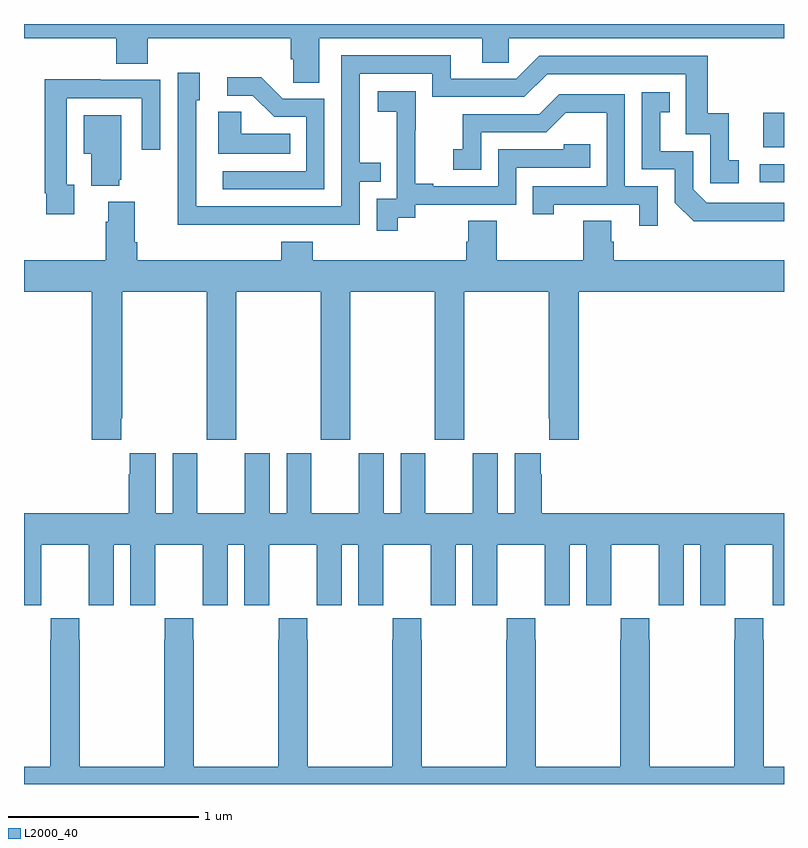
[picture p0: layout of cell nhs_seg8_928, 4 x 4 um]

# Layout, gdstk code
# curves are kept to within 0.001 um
import gdstk
lib = gdstk.Library(unit=1e-6, precision=1e-09)
def R(c, l, rs):  # rectangles x0, y0, x1, y1
    for r in rs: c.add(gdstk.rectangle(r[:2], r[2:], *l))
def P(c, l, *ps):  # polygons
    for p in ps: c.add(gdstk.Polygon(p, *l))
L2000_40 = (2000, 40)

nhs_seg8_928 = lib.new_cell('nhs_seg8_928')
R(nhs_seg8_928, L2000_40, [(174.873,1125.066,175,1125.162), (174.89,1125.251,175,1125.433)])
P(nhs_seg8_928, L2000_40, [(172.555,1125.824),(173.411,1125.824),(173.411,1125.697),(173.55,1125.697),(173.55,1125.824),(175,1125.824),(175,1125.9),(171,1125.9),(171,1125.824),(171.485,1125.824),(171.485,1125.691),(171.65,1125.691),(171.65,1125.824),(172.403,1125.824),(172.403,1125.715),(172.416,1125.715),(172.416,1125.592),(172.555,1125.592)],
  [(172.271,1124.844),(172.767,1124.844),(172.767,1125.069),(172.877,1125.069),(172.877,1125.17),(172.767,1125.17),(172.767,1125.639),(173.148,1125.639),(173.148,1125.516),(173.634,1125.516),(173.754,1125.636),(174.483,1125.636),(174.483,1125.321),(174.612,1125.321),(174.612,1125.063),(174.763,1125.063),(174.763,1125.183),(174.71,1125.183),(174.71,1125.43),(174.599,1125.43),(174.599,1125.732),(173.712,1125.732),(173.592,1125.612),(173.245,1125.612),(173.245,1125.735),(172.671,1125.735),(172.671,1124.94),(171.906,1124.94),(171.906,1125.498),(171.925,1125.498),(171.925,1125.643),(171.81,1125.643),(171.81,1125.149),(171.808,1125.149),(171.808,1124.843)],
  [(172.581,1125.507),(172.362,1125.507),(172.249,1125.62),(172.071,1125.62),(172.071,1125.522),(172.205,1125.522),(172.316,1125.411),(172.485,1125.411),(172.485,1125.126),(172.047,1125.126),(172.047,1125.03),(172.581,1125.03)],
  [(171.265,1125.054),(171.225,1125.054),(171.225,1125.51),(171.621,1125.51),(171.621,1125.237),(171.717,1125.237),(171.717,1125.606),(171.401,1125.606),(171.401,1125.608),(171.109,1125.608),(171.109,1125.01),(171.117,1125.01),(171.117,1124.898),(171.265,1124.898)],
  [(172.966,1124.881),(173.058,1124.881),(173.058,1124.949),(173.592,1124.949),(173.592,1125.144),(173.981,1125.144),(173.981,1125.267),(173.841,1125.267),(173.841,1125.24),(173.496,1125.24),(173.496,1125.045),(173.155,1125.045),(173.155,1125.058),(173.06,1125.058),(173.06,1125.341),(173.061,1125.341),(173.061,1125.547),(172.863,1125.547),(172.863,1125.437),(172.961,1125.437),(172.961,1125.209),(172.962,1125.209),(172.962,1124.979),(172.857,1124.979),(172.857,1124.811),(172.966,1124.811)],
  [(174.932,1124.862),(175,1124.862),(175,1124.958),(174.594,1124.958),(174.522,1125.03),(174.522,1125.231),(174.349,1125.231),(174.349,1125.435),(174.398,1125.435),(174.398,1125.541),(174.252,1125.541),(174.252,1125.135),(174.426,1125.135),(174.426,1124.958),(174.524,1124.861)],
  [(174.336,1125.045),(174.162,1125.045),(174.162,1125.531),(173.816,1125.531),(173.711,1125.426),(173.308,1125.426),(173.308,1125.241),(173.259,1125.241),(173.259,1125.132),(173.406,1125.132),(173.406,1125.33),(173.748,1125.33),(173.852,1125.434),(174.066,1125.434),(174.066,1125.045),(173.677,1125.045),(173.677,1124.898),(173.788,1124.898),(173.788,1124.949),(174.239,1124.949),(174.239,1124.838),(174.336,1124.838)],
  [(172.4,1125.322),(172.143,1125.322),(172.143,1125.437),(172.022,1125.437),(172.022,1125.218),(172.4,1125.218)],
  [(171.5,1125.081),(171.511,1125.081),(171.511,1125.421),(171.314,1125.421),(171.314,1125.218),(171.353,1125.218),(171.353,1125.05),(171.5,1125.05)],
  [(171.511,1123.825),(171.516,1123.825),(171.516,1124.492),(171.961,1124.492),(171.961,1123.713),(172.116,1123.713),(172.116,1124.492),(172.561,1124.492),(172.561,1123.713),(172.716,1123.713),(172.716,1124.492),(173.161,1124.492),(173.161,1123.713),(173.316,1123.713),(173.316,1124.492),(173.761,1124.492),(173.761,1123.825),(173.765,1123.825),(173.765,1123.713),(173.921,1123.713),(173.921,1124.492),(175,1124.492),(175,1124.656),(174.104,1124.656),(174.104,1124.754),(174.091,1124.754),(174.091,1124.864),(173.944,1124.864),(173.944,1124.656),(173.487,1124.656),(173.487,1124.864),(173.339,1124.864),(173.339,1124.754),(173.327,1124.754),(173.327,1124.656),(172.52,1124.656),(172.52,1124.755),(172.355,1124.755),(172.355,1124.656),(171.596,1124.656),(171.596,1124.752),(171.583,1124.752),(171.583,1124.965),(171.443,1124.965),(171.443,1124.858),(171.431,1124.858),(171.431,1124.656),(171,1124.656),(171,1124.492),(171.356,1124.492),(171.356,1123.713),(171.511,1123.713)],
  [(172.513,1123.642),(172.382,1123.642),(172.382,1123.324),(172.294,1123.324),(172.294,1123.642),(172.163,1123.642),(172.163,1123.324),(171.913,1123.324),(171.913,1123.642),(171.782,1123.642),(171.782,1123.324),(171.694,1123.324),(171.694,1123.642),(171.557,1123.642),(171.557,1123.529),(171.551,1123.529),(171.551,1123.324),(171,1123.324),(171,1122.84),(171.09,1122.84),(171.09,1122.952),(171.091,1122.952),(171.091,1123.16),(171.341,1123.16),(171.341,1122.952),(171.342,1122.952),(171.342,1122.84),(171.472,1122.84),(171.472,1123.16),(171.56,1123.16),(171.56,1122.84),(171.69,1122.84),(171.69,1122.952),(171.691,1122.952),(171.691,1123.16),(171.941,1123.16),(171.941,1122.952),(171.942,1122.952),(171.942,1122.84),(172.072,1122.84),(172.072,1123.16),(172.16,1123.16),(172.16,1122.84),(172.29,1122.84),(172.29,1122.952),(172.291,1122.952),(172.291,1123.16),(172.541,1123.16),(172.541,1122.952),(172.542,1122.952),(172.542,1122.84),(172.672,1122.84),(172.672,1123.16),(172.76,1123.16),(172.76,1122.84),(172.89,1122.84),(172.89,1122.952),(172.891,1122.952),(172.891,1123.16),(173.141,1123.16),(173.141,1122.952),(173.142,1122.952),(173.142,1122.84),(173.272,1122.84),(173.272,1123.16),(173.36,1123.16),(173.36,1122.84),(173.49,1122.84),(173.49,1122.952),(173.491,1122.952),(173.491,1123.16),(173.741,1123.16),(173.741,1122.952),(173.742,1122.952),(173.742,1122.84),(173.872,1122.84),(173.872,1123.16),(173.96,1123.16),(173.96,1122.84),(174.09,1122.84),(174.09,1122.952),(174.091,1122.952),(174.091,1123.16),(174.341,1123.16),(174.341,1122.952),(174.342,1122.952),(174.342,1122.84),(174.472,1122.84),(174.472,1123.16),(174.56,1123.16),(174.56,1122.84),(174.69,1122.84),(174.69,1122.952),(174.691,1122.952),(174.691,1123.16),(174.941,1123.16),(174.941,1122.952),(174.942,1122.952),(174.942,1122.84),(175,1122.84),(175,1123.324),(173.726,1123.324),(173.726,1123.529),(173.719,1123.529),(173.719,1123.642),(173.582,1123.642),(173.582,1123.324),(173.494,1123.324),(173.494,1123.642),(173.363,1123.642),(173.363,1123.324),(173.113,1123.324),(173.113,1123.642),(172.982,1123.642),(172.982,1123.324),(172.894,1123.324),(172.894,1123.642),(172.763,1123.642),(172.763,1123.324),(172.513,1123.324)],
  [(175,1121.992),(174.894,1121.992),(174.894,1122.659),(174.891,1122.659),(174.891,1122.772),(174.741,1122.772),(174.741,1122.659),(174.739,1122.659),(174.739,1121.992),(174.294,1121.992),(174.294,1122.659),(174.291,1122.659),(174.291,1122.772),(174.141,1122.772),(174.141,1122.659),(174.139,1122.659),(174.139,1121.992),(173.694,1121.992),(173.694,1122.659),(173.691,1122.659),(173.691,1122.772),(173.541,1122.772),(173.541,1122.659),(173.539,1122.659),(173.539,1121.992),(173.094,1121.992),(173.094,1122.659),(173.091,1122.659),(173.091,1122.772),(172.941,1122.772),(172.941,1122.659),(172.939,1122.659),(172.939,1121.992),(172.494,1121.992),(172.494,1122.659),(172.491,1122.659),(172.491,1122.772),(172.341,1122.772),(172.341,1122.659),(172.339,1122.659),(172.339,1121.992),(171.894,1121.992),(171.894,1122.659),(171.891,1122.659),(171.891,1122.772),(171.741,1122.772),(171.741,1122.659),(171.739,1122.659),(171.739,1121.992),(171.294,1121.992),(171.294,1122.659),(171.291,1122.659),(171.291,1122.772),(171.141,1122.772),(171.141,1122.659),(171.139,1122.659),(171.139,1121.992),(171,1121.992),(171,1121.9),(175,1121.9)])

lib.write_gds('nhs_seg8_928.gds')
